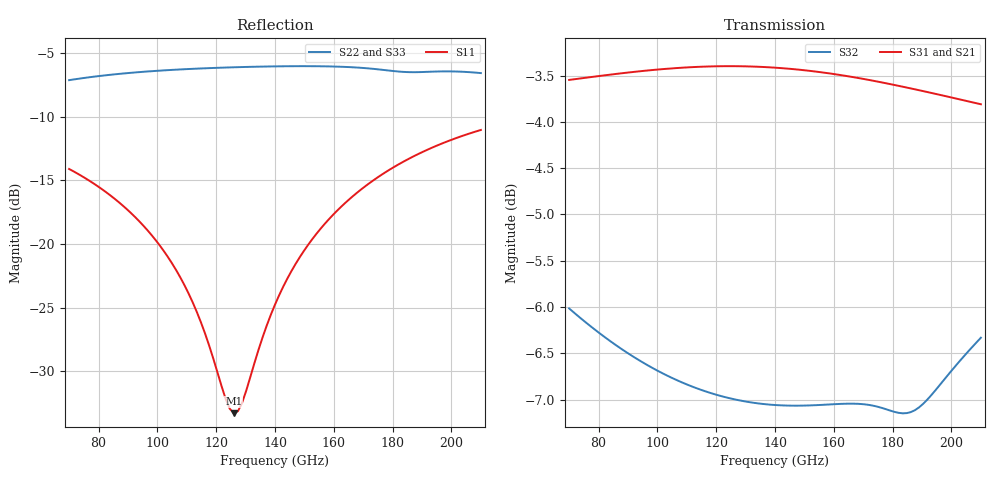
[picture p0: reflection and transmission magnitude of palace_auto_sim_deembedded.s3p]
! Created with skrf 1.11.0 (http://scikit-rf.org).
# GHz S DB R 50.0
!freq dBS11 angS11 dBS12 angS12 dBS13 angS13
! dBS21 angS21 dBS22 angS22 dBS23 angS23
! dBS31 angS31 dBS32 angS32 dBS33 angS33
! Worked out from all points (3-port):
!   101 points, 70 GHz to 210 GHz, reference 50 ohm
!   strongest paths, dB at 70 GHz, 105 GHz, 140 GHz, 175 GHz, 210 GHz:
!     S31: -3.5, -3.4, -3.4, -3.6, -3.8
!     S21: -3.6, -3.4, -3.4, -3.6, -3.8
!     S32: -6.0, -6.8, -7.1, -7.1, -6.3
!   lowest |S11| = -33.3 dB at 126 GHz (marker M1), VSWR 1.04, Z = 52.1 + j0.737 ohm
!   |S11| at or under -10 dB: start of sweep to end of sweep
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70  -14.10 134.5  -3.55 -43.5  -3.55 -43.4
    -3.55 -43.5  -7.13 49.1  -6.02 -100.1
    -3.55 -43.4  -6.02 -100.1  -7.14 49.0
89.6  -17.26 119.8  -3.47 -56.1  -3.47 -56.1
      -3.47 -56.1  -6.58 31.4  -6.49 -124.3
      -3.47 -56.1  -6.49 -124.3  -6.59 31.3
103.6  -21.02 106.2  -3.43 -65.3  -3.43 -65.3
       -3.43 -65.3  -6.34 20.6  -6.75 -141.0
       -3.43 -65.3  -6.75 -141.0  -6.35 20.5
113.4  -25.33 90.7  -3.41 -71.8  -3.41 -71.8
       -3.41 -71.8  -6.22 13.6  -6.88 -152.6
       -3.41 -71.8  -6.88 -152.6  -6.24 13.6
126  -33.30 19.1  -3.41 -80.2  -3.40 -80.2
     -3.41 -80.2  -6.12 5.2  -7.00 -167.4
     -3.40 -80.2  -7.00 -167.4  -6.13 5.1
128.8  -32.48 -10.0  -3.41 -82.1  -3.40 -82.1
       -3.41 -82.1  -6.10 3.3  -7.01 -170.7
       -3.40 -82.1  -7.01 -170.7  -6.11 3.2
140  -24.76 -60.5  -3.42 -89.6  -3.41 -89.6
     -3.42 -89.6  -6.04 -4.0  -7.06 176.2
     -3.41 -89.6  -7.06 176.2  -6.06 -4.1
151.2  -20.08 -76.8  -3.46 -97.1  -3.45 -97.2
       -3.46 -97.1  -6.03 -11.4  -7.06 162.9
       -3.45 -97.2  -7.06 162.9  -6.05 -11.4
166.6  -16.22 -90.8  -3.53 -107.3  -3.52 -107.4
       -3.53 -107.3  -6.12 -21.9  -7.04 144.4
       -3.52 -107.4  -7.04 144.4  -6.14 -22.0
210  -11.04 -120.2  -3.82 -135.3  -3.81 -135.4
     -3.82 -135.3  -6.57 -54.0  -6.33 94.7
     -3.81 -135.4  -6.33 94.7  -6.60 -54.1
